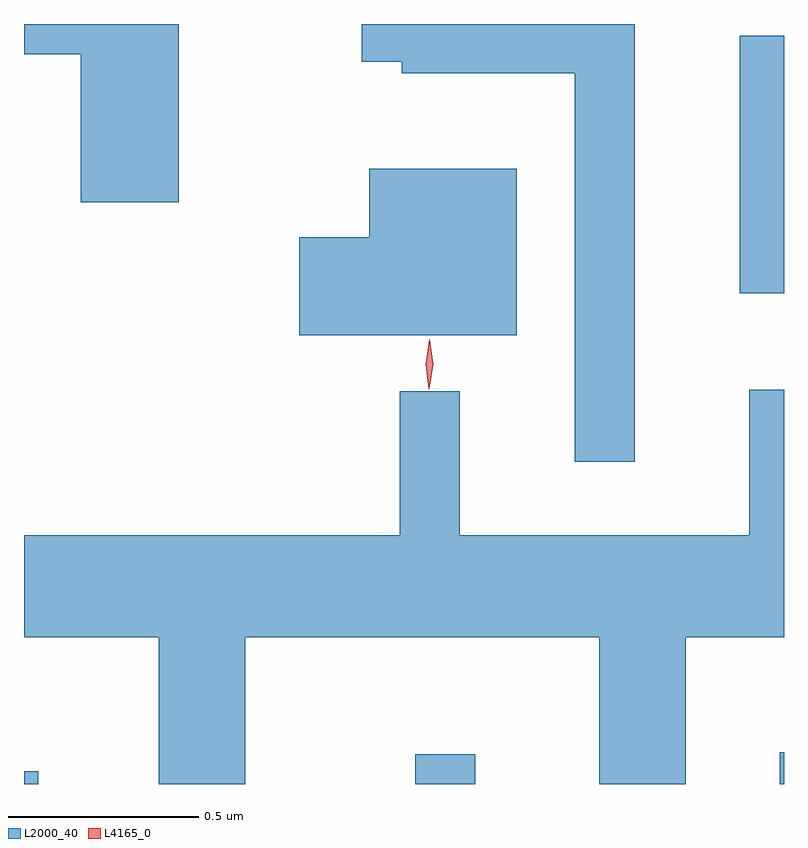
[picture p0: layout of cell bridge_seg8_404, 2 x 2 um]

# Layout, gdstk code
import gdstk
lib = gdstk.Library(unit=1e-6, precision=1e-09)
def R(c, l, rs):  # rectangles x0, y0, x1, y1
    for r in rs: c.add(gdstk.rectangle(r[:2], r[2:], *l))
def P(c, l, *ps):  # polygons
    for p in ps: c.add(gdstk.Polygon(p, *l))
L2000_40 = (2000, 40)
L4165_0 = (4165, 0)

bridge_seg8_404 = lib.new_cell('bridge_seg8_404')
R(bridge_seg8_404, L2000_40, [(811.187,1849.35,811.224,1849.384), (812.216,1849.35,812.374,1849.428), (813.176,1849.35,813.187,1849.434), (813.071,1850.641,813.187,1851.319)])
P(bridge_seg8_404, L2000_40, [(811.594,1851.35),(811.187,1851.35),(811.187,1851.271),(811.336,1851.271),(811.336,1850.881),(811.594,1850.881)],
  [(812.794,1851.35),(812.076,1851.35),(812.076,1851.251),(812.181,1851.251),(812.181,1851.221),(812.636,1851.221),(812.636,1850.198),(812.794,1850.198)],
  [(812.484,1850.969),(812.096,1850.969),(812.096,1850.789),(811.911,1850.789),(811.911,1850.531),(812.484,1850.531)],
  [(812.701,1849.35),(812.929,1849.35),(812.929,1849.736),(813.187,1849.736),(813.187,1850.388),(813.096,1850.388),(813.096,1850.004),(812.334,1850.004),(812.334,1850.383),(812.176,1850.383),(812.176,1850.004),(811.187,1850.004),(811.187,1849.736),(811.541,1849.736),(811.541,1849.35),(811.769,1849.35),(811.769,1849.736),(812.701,1849.736)])
P(bridge_seg8_404, L4165_0, [(812.252,1850.389),(812.244,1850.454),(812.254,1850.519),(812.255,1850.52),(812.255,1850.519),(812.264,1850.454),(812.253,1850.389),(812.253,1850.389)])

lib.write_gds('bridge_seg8_404.gds')
